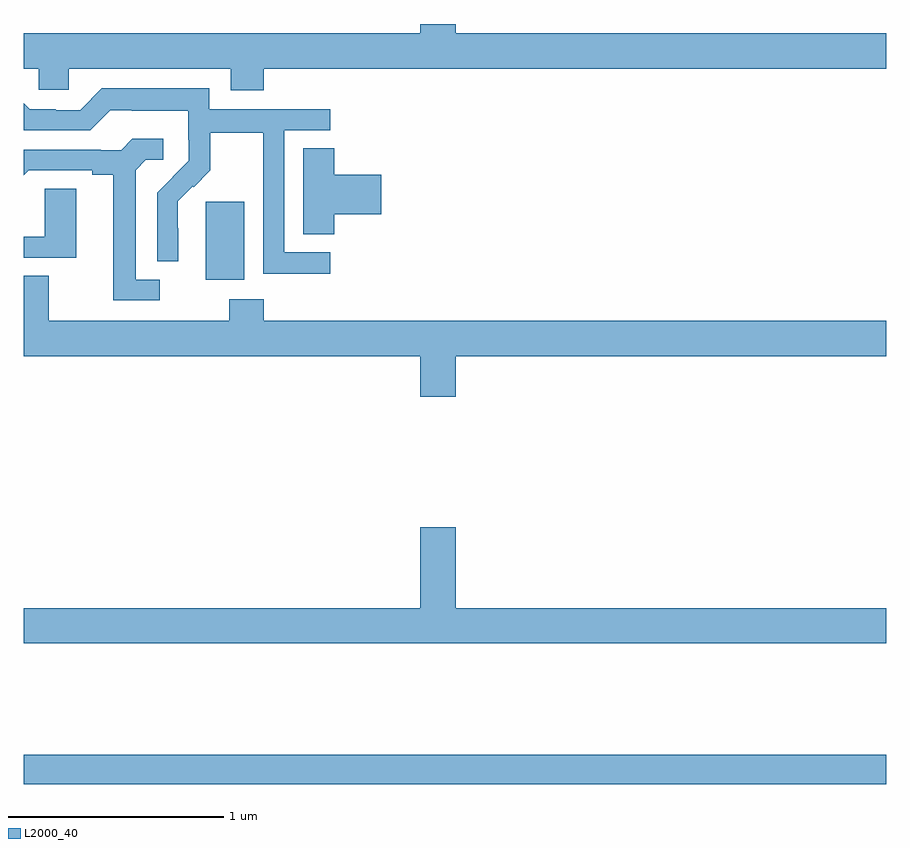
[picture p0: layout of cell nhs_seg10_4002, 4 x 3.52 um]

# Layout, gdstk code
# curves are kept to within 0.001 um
import gdstk
lib = gdstk.Library(unit=1e-6, precision=1e-09)
def R(c, l, rs):  # rectangles x0, y0, x1, y1
    for r in rs: c.add(gdstk.rectangle(r[:2], r[2:], *l))
def P(c, l, *ps):  # polygons
    for p in ps: c.add(gdstk.Polygon(p, *l))
L2000_40 = (2000, 40)

nhs_seg10_4002 = lib.new_cell('nhs_seg10_4002')
R(nhs_seg10_4002, L2000_40, [(331,1320.976,335,1321.112), (331.844,1323.314,332.023,1323.675)])
P(nhs_seg10_4002, L2000_40, [(332.114,1324.292),(335,1324.292),(335,1324.456),(333.004,1324.456),(333.004,1324.5),(332.84,1324.5),(332.84,1324.456),(331,1324.456),(331,1324.292),(331.071,1324.292),(331.071,1324.194),(331.209,1324.194),(331.209,1324.292),(331.961,1324.292),(331.961,1324.193),(332.114,1324.193)],
  [(332.422,1323.441),(332.208,1323.441),(332.208,1324.008),(332.422,1324.008),(332.422,1324.104),(331.86,1324.104),(331.86,1324.201),(331.363,1324.201),(331.263,1324.101),(331.148,1324.101),(331.148,1324.104),(331.029,1324.104),(331,1324.133),(331,1324.008),(331.308,1324.008),(331.401,1324.101),(331.501,1324.101),(331.501,1324.097),(331.764,1324.097),(331.764,1323.963),(331.766,1323.963),(331.766,1323.866),(331.62,1323.718),(331.62,1323.4),(331.716,1323.4),(331.715,1323.677),(331.785,1323.747),(331.788,1323.744),(331.865,1323.821),(331.865,1323.996),(332.11,1323.996),(332.11,1323.772),(332.112,1323.772),(332.112,1323.343),(332.422,1323.343)],
  [(331.63,1323.315),(331.519,1323.315),(331.519,1323.823),(331.566,1323.87),(331.648,1323.87),(331.648,1323.967),(331.504,1323.967),(331.452,1323.915),(331.358,1323.915),(331.358,1323.918),(331,1323.918),(331,1323.798),(331.024,1323.822),(331.319,1323.822),(331.319,1323.8),(331.415,1323.8),(331.415,1323.219),(331.63,1323.219)],
  [(332.441,1323.617),(332.659,1323.617),(332.659,1323.8),(332.441,1323.8),(332.441,1323.923),(332.297,1323.923),(332.297,1323.526),(332.441,1323.526)],
  [(331.243,1323.737),(331.098,1323.737),(331.098,1323.513),(331,1323.513),(331,1323.417),(331.243,1323.417)],
  [(333.004,1322.96),(335,1322.96),(335,1323.124),(332.114,1323.124),(332.114,1323.223),(331.954,1323.223),(331.954,1323.124),(331.117,1323.124),(331.117,1323.332),(331,1323.332),(331,1322.96),(332.84,1322.96),(332.84,1322.772),(333.004,1322.772)],
  [(335,1321.792),(333.004,1321.792),(333.004,1322.167),(332.84,1322.167),(332.84,1321.792),(331,1321.792),(331,1321.628),(335,1321.628)])

lib.write_gds('nhs_seg10_4002.gds')
